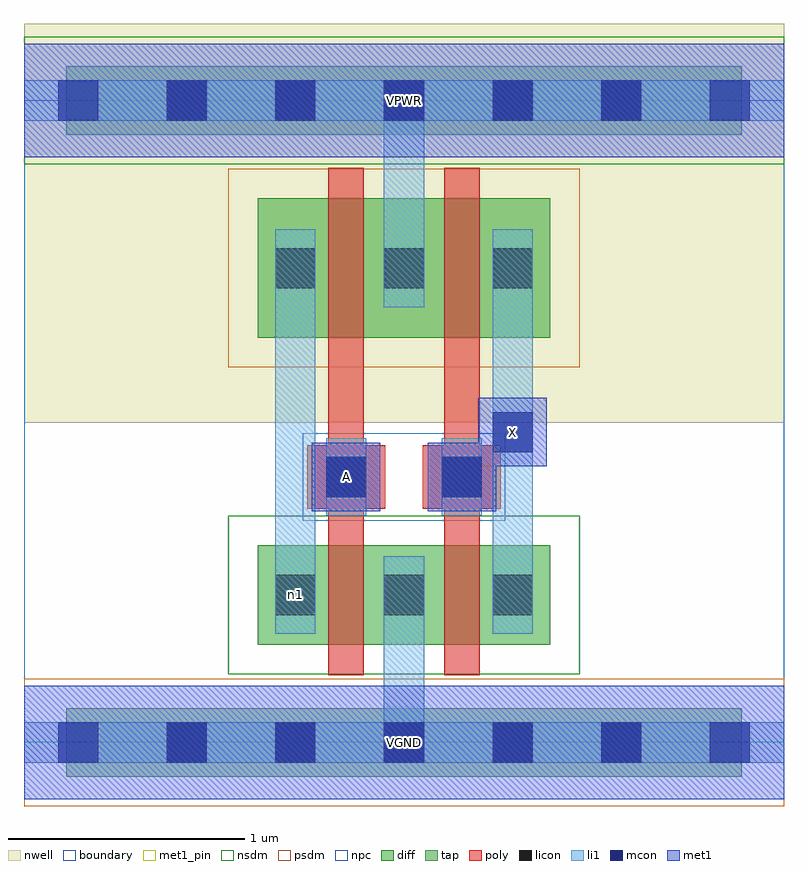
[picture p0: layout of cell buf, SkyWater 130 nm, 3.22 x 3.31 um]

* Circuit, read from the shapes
.subckt buf A VGND VPWR X n1
XM1 VGND A n1 VGND sky130_fd_pr__nfet_01v8 w=0.42 l=0.15
XM2 X X VGND VGND sky130_fd_pr__nfet_01v8 w=0.42 l=0.15
XM3 VPWR A n1 VPWR sky130_fd_pr__pfet_01v8 w=0.59 l=0.15
XM4 X X VPWR VPWR sky130_fd_pr__pfet_01v8 w=0.59 l=0.15
.ends

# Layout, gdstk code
import gdstk
lib = gdstk.Library(unit=1e-6, precision=1e-09)
def R(c, l, rs):  # rectangles x0, y0, x1, y1
    for r in rs: c.add(gdstk.rectangle(r[:2], r[2:], *l))
def A(c, l, x, y, w, h, nx, ny, dx, dy):  # array of equal rectangles
    R(c, l, [(x+i*dx, y+j*dy, x+i*dx+w, y+j*dy+h) for i in range(nx) for j in range(ny)])
nwell = (64, 20)
diff = (65, 20)
tap = (65, 44)
poly = (66, 20)
licon = (66, 44)
li1 = (67, 20)
mcon = (67, 44)
met1_pin = (68, 16)
met1 = (68, 20)
nsdm = (93, 44)
psdm = (94, 20)
npc = (95, 20)
boundary = (235, 4)

buf = lib.new_cell('buf')
R(buf, nwell, [(0,1.355,3.22,3.045)])
R(buf, diff, [(0.99,0.415,2.23,0.835), (0.99,1.715,2.23,2.305)])
R(buf, tap, [(0.18,-0.145,3.04,0.145), (0.18,2.575,3.04,2.865)])
R(buf, poly, [(1.29,0.285,1.44,2.435), (1.78,0.285,1.93,2.435), (1.2,0.99,1.53,1.26), (1.69,0.99,2.02,1.26)])
A(buf, licon, 0.605, -0.085, 0.17, 0.17, 5, 2, 0.46, 2.72)
A(buf, licon, 1.065, 0.54, 0.17, 0.17, 3, 2, 0.46, 1.385)
R(buf, licon, [(1.28,1.04,1.45,1.21), (1.77,1.04,1.94,1.21)])
A(buf, li1, 1.065, 0.46, 0.17, 0.33, 3, 2, 0.46, 1.385)
R(buf, li1, [(0,-0.085,3.22,0.085), (1.525,-0.085,1.695,0.79), (1.065,0.46,1.235,2.175), (1.985,0.46,2.155,2.175), (1.28,0.96,1.45,1.29), (1.77,0.96,1.94,1.29), (1.525,1.845,1.695,2.805), (0,2.635,3.22,2.805)])
A(buf, mcon, 0.145, -0.085, 0.17, 0.17, 7, 2, 0.46, 2.72)
R(buf, mcon, [(1.28,1.04,1.45,1.21), (1.77,1.04,1.94,1.21), (1.985,1.23,2.155,1.4)])
R(buf, met1_pin, [(0,-0.24,3.22,0.24), (1.22,0.98,1.51,1.27), (1.925,1.17,2.215,1.46), (0,2.48,3.22,2.96)])
R(buf, met1, [(0,-0.24,3.22,0.24), (1.22,0.98,1.51,1.27), (1.71,0.98,2,1.27), (1.925,1.17,2.215,1.46), (0,2.48,3.22,2.96)])
R(buf, nsdm, [(0.865,0.29,2.355,0.96), (0,2.45,3.22,2.99)])
R(buf, psdm, [(0,-0.27,3.22,0.27), (0.865,1.59,2.355,2.43)])
R(buf, npc, [(1.18,0.94,2.04,1.31)])
R(buf, boundary, [(0,0,3.22,2.72)])
buf.add(gdstk.Label('n1', (1.15,0.625), layer=67, texttype=5))
buf.add(gdstk.Label('A', (1.365,1.125), layer=68, texttype=5))
buf.add(gdstk.Label('X', (2.07,1.315), layer=68, texttype=5))
buf.add(gdstk.Label('VPWR', (1.61,2.72), layer=68, texttype=5))
buf.add(gdstk.Label('VGND', (1.61,0), layer=68, texttype=5))
buf.add(gdstk.Label('A', (1.365,1.125), layer=68, texttype=16))
buf.add(gdstk.Label('X', (2.07,1.315), layer=68, texttype=16))
buf.add(gdstk.Label('VPWR', (1.61,2.72), layer=68, texttype=16))
buf.add(gdstk.Label('VGND', (1.61,0), layer=68, texttype=16))

lib.write_gds('buf.gds')
